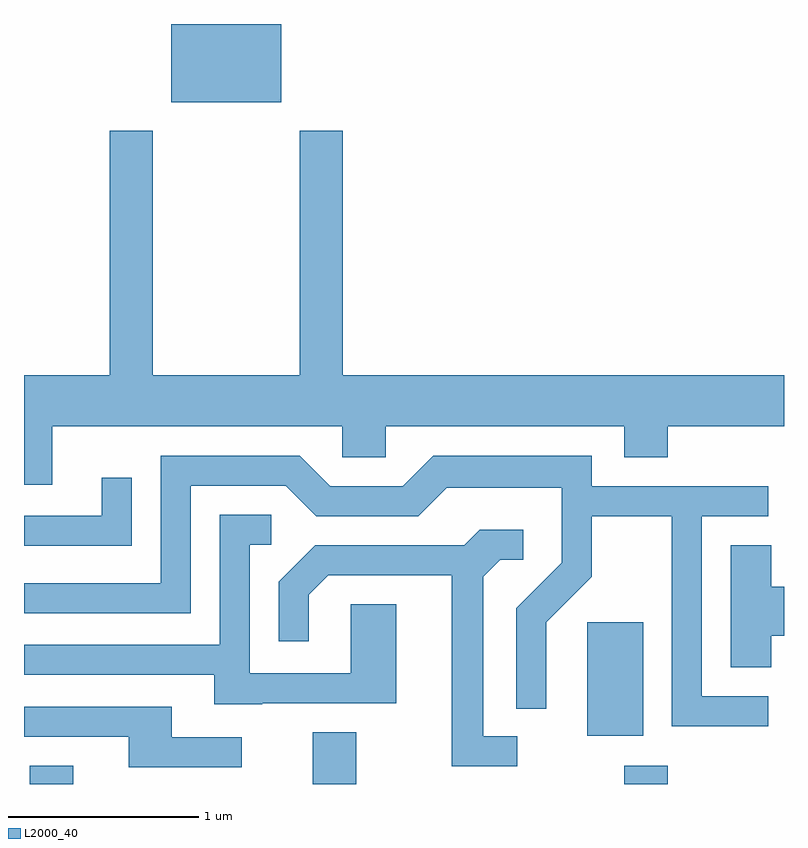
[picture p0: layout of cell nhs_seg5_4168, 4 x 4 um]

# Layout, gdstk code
import gdstk
lib = gdstk.Library(unit=1e-6, precision=1e-09)
def R(c, l, rs):  # rectangles x0, y0, x1, y1
    for r in rs: c.add(gdstk.rectangle(r[:2], r[2:], *l))
def P(c, l, *ps):  # polygons
    for p in ps: c.add(gdstk.Polygon(p, *l))
L2000_40 = (2000, 40)

nhs_seg5_4168 = lib.new_cell('nhs_seg5_4168')
R(nhs_seg5_4168, L2000_40, [(309.641,1406.072,309.869,1406.169), (311.131,1406.072,311.359,1406.344), (312.771,1406.072,312.999,1406.169), (312.576,1406.326,312.869,1406.924), (310.386,1409.661,310.964,1410.072)])
P(nhs_seg5_4168, L2000_40, [(309.759,1407.956),(311.286,1407.956),(311.286,1407.791),(311.514,1407.791),(311.514,1407.956),(312.771,1407.956),(312.771,1407.791),(312.999,1407.791),(312.999,1407.956),(313.611,1407.956),(313.611,1408.224),(311.289,1408.224),(311.289,1409.509),(311.061,1409.509),(311.061,1408.224),(310.289,1408.224),(310.289,1409.509),(310.061,1409.509),(310.061,1408.224),(309.611,1408.224),(309.611,1407.646),(309.759,1407.646)],
  [(313.528,1406.534),(313.179,1406.534),(313.179,1407.481),(313.528,1407.481),(313.528,1407.639),(312.599,1407.639),(312.599,1407.799),(311.764,1407.799),(311.604,1407.639),(311.222,1407.639),(311.062,1407.799),(310.331,1407.799),(310.331,1407.129),(309.611,1407.129),(309.611,1406.971),(310.489,1406.971),(310.489,1407.641),(310.989,1407.641),(311.149,1407.481),(311.687,1407.481),(311.837,1407.631),(312.441,1407.631),(312.441,1407.237),(312.201,1406.997),(312.201,1406.468),(312.359,1406.468),(312.359,1406.924),(312.599,1407.164),(312.599,1407.481),(313.021,1407.481),(313.021,1406.376),(313.528,1406.376)],
  [(310.179,1407.683),(310.021,1407.683),(310.021,1407.484),(309.611,1407.484),(309.611,1407.326),(310.179,1407.326)],
  [(310.865,1406.496),(311.569,1406.496),(311.569,1407.019),(311.331,1407.019),(311.331,1406.654),(310.799,1406.654),(310.799,1407.331),(310.913,1407.331),(310.913,1407.489),(310.641,1407.489),(310.641,1406.804),(309.611,1406.804),(309.611,1406.646),(310.611,1406.646),(310.611,1406.491),(310.865,1406.491)],
  [(312.208,1406.324),(312.029,1406.324),(312.029,1407.164),(312.117,1407.251),(312.238,1407.251),(312.238,1407.409),(312.009,1407.409),(311.929,1407.329),(311.144,1407.329),(310.951,1407.137),(310.951,1406.823),(311.109,1406.823),(311.109,1407.069),(311.212,1407.171),(311.861,1407.171),(311.861,1406.166),(312.208,1406.166)],
  [(313.544,1406.851),(313.611,1406.851),(313.611,1407.109),(313.544,1407.109),(313.544,1407.329),(313.331,1407.329),(313.331,1406.686),(313.544,1406.686)],
  [(310.758,1406.319),(310.389,1406.319),(310.389,1406.479),(309.611,1406.479),(309.611,1406.321),(310.161,1406.321),(310.161,1406.161),(310.758,1406.161)])

lib.write_gds('nhs_seg5_4168.gds')
